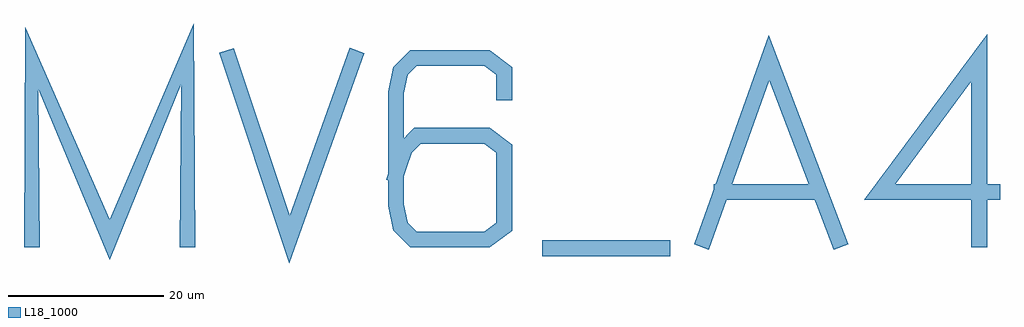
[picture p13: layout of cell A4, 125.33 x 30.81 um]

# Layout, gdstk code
import gdstk
lib = gdstk.Library(unit=1e-6, precision=1e-09)
L18_1000 = (18, 1000)

c_a4 = lib.new_cell('A4')
c_a4.add(gdstk.FlexPath([(-480.012,-306.995),(-480.012,-283.662),(-470.012,-306.995),(-460.012,-283.107),(-460.012,-306.995)], 2, ends="extended", simple_path=True, layer=18, datatype=1000))  # L18_1000
c_a4.add(gdstk.FlexPath([(-454.679,-283.662),(-446.902,-306.995),(-438.568,-283.662)], 2, ends="extended", simple_path=True, layer=18, datatype=1000))  # L18_1000
c_a4.add(gdstk.FlexPath([(-419.347,-288.107),(-419.347,-285.329),(-421.569,-283.662),(-431.013,-283.662),(-432.68,-285.329),(-433.235,-288.107),(-433.235,-302.551),(-432.68,-305.329),(-431.013,-306.995),(-421.569,-306.995),(-419.347,-305.329),(-419.347,-295.329),(-421.569,-293.662),(-430.458,-293.662),(-432.124,-295.329),(-433.235,-298.662)], 2, ends="extended", simple_path=True, layer=18, datatype=1000))  # L18_1000
c_a4.add(gdstk.FlexPath([(-413.458,-308.106),(-399.014,-308.106)], 2, ends="extended", simple_path=True, layer=18, datatype=1000))  # L18_1000
c_a4.add(gdstk.FlexPath([(-393.681,-306.995),(-385.348,-283.662),(-376.459,-306.995)], 2, ends="extended", simple_path=True, layer=18, datatype=1000))  # L18_1000
c_a4.add(gdstk.FlexPath([(-379.237,-300.884),(-391.459,-300.884)], 2, ends="extended", simple_path=True, layer=18, datatype=1000))  # L18_1000
c_a4.add(gdstk.FlexPath([(-356.682,-300.884),(-371.126,-300.884),(-358.349,-283.662),(-358.349,-306.995)], 2, ends="extended", simple_path=True, layer=18, datatype=1000))  # L18_1000

lib.write_gds('A4.gds')
